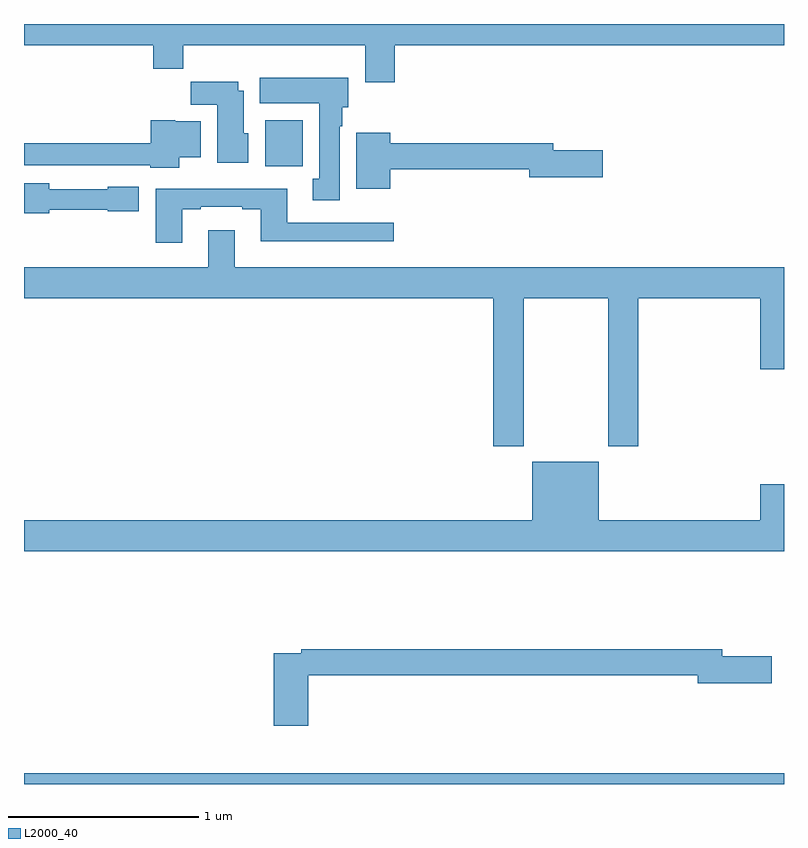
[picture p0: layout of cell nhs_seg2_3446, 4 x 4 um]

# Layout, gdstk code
import gdstk
lib = gdstk.Library(unit=1e-6, precision=1e-09)
def R(c, l, rs):  # rectangles x0, y0, x1, y1
    for r in rs: c.add(gdstk.rectangle(r[:2], r[2:], *l))
def P(c, l, *ps):  # polygons
    for p in ps: c.add(gdstk.Polygon(p, *l))
L2000_40 = (2000, 40)

nhs_seg2_3446 = lib.new_cell('nhs_seg2_3446')
R(nhs_seg2_3446, L2000_40, [(293,591.8,297,591.856), (294.269,595.052,294.466,595.294)])
P(nhs_seg2_3446, L2000_40, [(294.95,595.688),(297,595.688),(297,595.8),(293,595.8),(293,595.688),(293.681,595.688),(293.681,595.564),(293.837,595.564),(293.837,595.688),(294.797,595.688),(294.797,595.494),(294.95,595.494)],
  [(294.661,595.262),(294.676,595.262),(294.676,595.362),(294.706,595.362),(294.706,595.516),(294.242,595.516),(294.242,595.382),(294.554,595.382),(294.554,594.986),(294.521,594.986),(294.521,594.873),(294.661,594.873)],
  [(294.181,595.224),(294.157,595.224),(294.157,595.45),(294.127,595.45),(294.127,595.495),(293.878,595.495),(293.878,595.376),(294.017,595.376),(294.017,595.07),(294.181,595.07)],
  [(293.818,595.1),(293.929,595.1),(293.929,595.288),(293.796,595.288),(293.796,595.294),(293.666,595.294),(293.666,595.172),(293,595.172),(293,595.056),(293.664,595.056),(293.664,595.043),(293.818,595.043)],
  [(294.928,595.036),(295.658,595.036),(295.658,594.994),(296.047,594.994),(296.047,595.136),(295.786,595.136),(295.786,595.172),(294.928,595.172),(294.928,595.228),(294.749,595.228),(294.749,594.932),(294.928,594.932)],
  [(293.134,594.822),(293.442,594.822),(293.442,594.814),(293.605,594.814),(293.605,594.943),(293.442,594.943),(293.442,594.93),(293.134,594.93),(293.134,594.961),(293,594.961),(293,594.803),(293.134,594.803)],
  [(293.833,594.825),(293.929,594.825),(293.929,594.837),(294.149,594.837),(294.149,594.825),(294.245,594.825),(294.245,594.656),(294.946,594.656),(294.946,594.753),(294.385,594.753),(294.385,594.934),(293.693,594.934),(293.693,594.648),(293.833,594.648)],
  [(295.629,594.356),(296.074,594.356),(296.074,593.577),(296.234,593.577),(296.234,594.356),(296.876,594.356),(296.876,593.982),(297,593.982),(297,594.52),(294.109,594.52),(294.109,594.715),(293.969,594.715),(293.969,594.52),(293,594.52),(293,594.356),(295.469,594.356),(295.469,593.577),(295.629,593.577)],
  [(297,593.377),(296.876,593.377),(296.876,593.188),(296.026,593.188),(296.026,593.497),(295.676,593.497),(295.676,593.188),(293,593.188),(293,593.024),(297,593.024)],
  [(294.497,592.372),(296.546,592.372),(296.546,592.33),(296.935,592.33),(296.935,592.472),(296.674,592.472),(296.674,592.508),(294.46,592.508),(294.46,592.488),(294.314,592.488),(294.314,592.107),(294.497,592.107)])

lib.write_gds('nhs_seg2_3446.gds')
